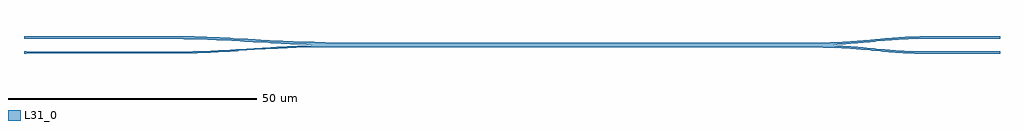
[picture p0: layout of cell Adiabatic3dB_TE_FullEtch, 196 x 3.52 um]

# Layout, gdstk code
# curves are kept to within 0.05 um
import gdstk
lib = gdstk.Library(unit=1e-6, precision=1e-09)
def P(c, l, *ps):  # polygons
    for p in ps: c.add(gdstk.Polygon(p, *l))
L31_0 = (31, 0)

adiabatic3db_te_fulletch = lib.new_cell('Adiabatic3dB_TE_FullEtch')
P(adiabatic3db_te_fulletch, L31_0, [(180.5,1.275),(195.5,1.25),(196,1.25),(196,1.75),(195.5,1.75),(180.5,1.725)],
  [(0,1.25),(0.5,1.25),(15.5,1.225),(15.5,1.775),(0.5,1.75),(0,1.75)],
  [(15.5,1.225),(34.518,1.171),(39.908,0.957),(51.657,0.289),(57.092,0.09),(57.092,0.639),(51.98,0.824),(40.232,1.491),(34.838,1.712),(15.5,1.775)],
  [(57.092,0.09),(161.13,0.053),(166.007,0.27),(176.018,1.124),(180.5,1.275),(180.5,1.725),(175.99,1.573),(165.974,0.719),(161.125,0.503),(57.092,0.639)],
  [(180.5,-1.725),(195.5,-1.75),(196,-1.75),(196,-1.25),(195.5,-1.25),(180.5,-1.275)],
  [(0,-1.75),(0.5,-1.75),(15.5,-1.675),(15.5,-1.325),(0.5,-1.25),(0,-1.25)],
  [(15.5,-1.675),(30.815,-1.675),(34.531,-1.616),(40.227,-1.367),(52.273,-0.628),(58.938,-0.409),(160.71,-0.5),(160.71,-0.05),(58.934,-0.059),(52.851,-0.249),(39.912,-1.034),(34.521,-1.266),(30.814,-1.325),(15.5,-1.325)],
  [(160.71,-0.5),(165.38,-0.677),(175.99,-1.573),(180.5,-1.725),(180.5,-1.275),(175.62,-1.098),(165.01,-0.202),(160.71,-0.05)])

lib.write_gds('Adiabatic3dB_TE_FullEtch.gds')
